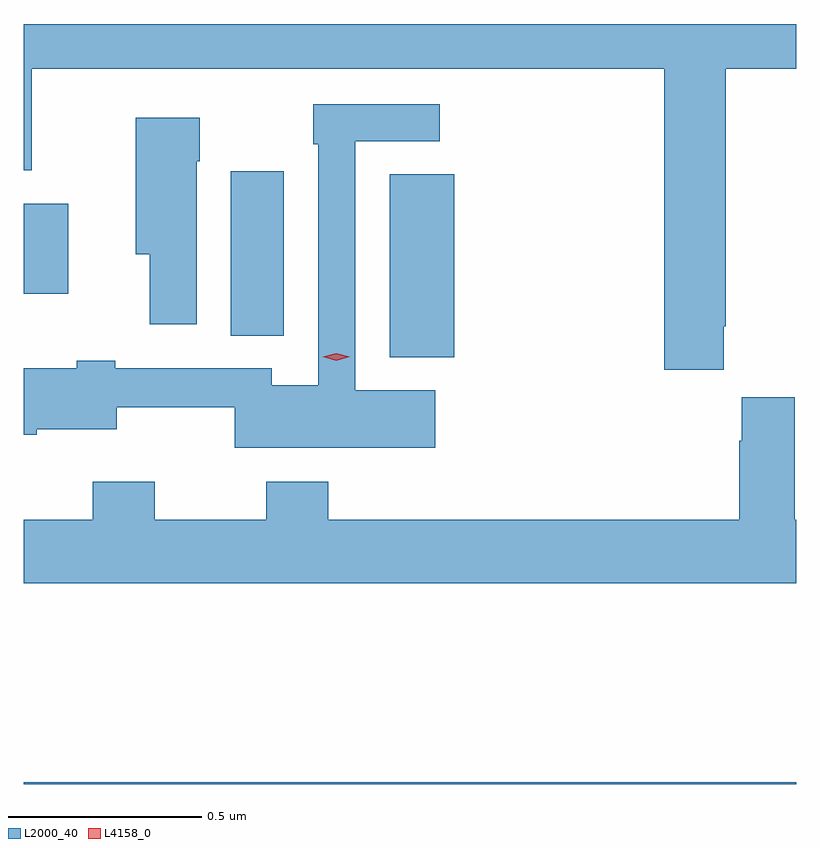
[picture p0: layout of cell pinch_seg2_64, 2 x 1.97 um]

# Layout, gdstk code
import gdstk
lib = gdstk.Library(unit=1e-6, precision=1e-09)
def R(c, l, rs):  # rectangles x0, y0, x1, y1
    for r in rs: c.add(gdstk.rectangle(r[:2], r[2:], *l))
def P(c, l, *ps):  # polygons
    for p in ps: c.add(gdstk.Polygon(p, *l))
L2000_40 = (2000, 40)
L4158_0 = (4158, 0)

pinch_seg2_64 = lib.new_cell('pinch_seg2_64')
R(pinch_seg2_64, L2000_40, [(1035.276,664.432,1037.276,664.436), (1036.223,665.537,1036.39,666.011), (1035.812,665.593,1035.949,666.019), (1035.276,665.702,1035.391,665.935)])
P(pinch_seg2_64, L2000_40, [(1037.089,665.617),(1037.094,665.617),(1037.094,666.284),(1037.276,666.284),(1037.276,666.4),(1035.276,666.4),(1035.276,666.021),(1035.296,666.021),(1035.296,666.284),(1036.934,666.284),(1036.934,665.505),(1037.089,665.505)],
  [(1036.342,665.452),(1036.134,665.452),(1036.134,666.096),(1036.353,666.096),(1036.353,666.192),(1036.026,666.192),(1036.026,666.089),(1036.038,666.089),(1036.038,665.464),(1035.918,665.464),(1035.918,665.508),(1035.513,665.508),(1035.513,665.528),(1035.413,665.528),(1035.413,665.509),(1035.276,665.509),(1035.276,665.336),(1035.309,665.336),(1035.309,665.351),(1035.517,665.351),(1035.517,665.407),(1035.822,665.407),(1035.822,665.303),(1036.342,665.303)],
  [(1035.724,666.044),(1035.732,666.044),(1035.732,666.157),(1035.566,666.157),(1035.566,665.804),(1035.602,665.804),(1035.602,665.622),(1035.724,665.622)],
  [(1037.276,665.116),(1037.272,665.116),(1037.272,665.434),(1037.135,665.434),(1037.135,665.321),(1037.129,665.321),(1037.129,665.116),(1036.064,665.116),(1036.064,665.215),(1035.904,665.215),(1035.904,665.116),(1035.615,665.116),(1035.615,665.215),(1035.455,665.215),(1035.455,665.116),(1035.276,665.116),(1035.276,664.952),(1037.276,664.952)])
P(pinch_seg2_64, L4158_0, [(1036.085,665.528),(1036.05,665.539),(1036.05,665.539),(1036.05,665.539),(1036.085,665.548),(1036.12,665.538),(1036.12,665.538),(1036.12,665.538)])

lib.write_gds('pinch_seg2_64.gds')
